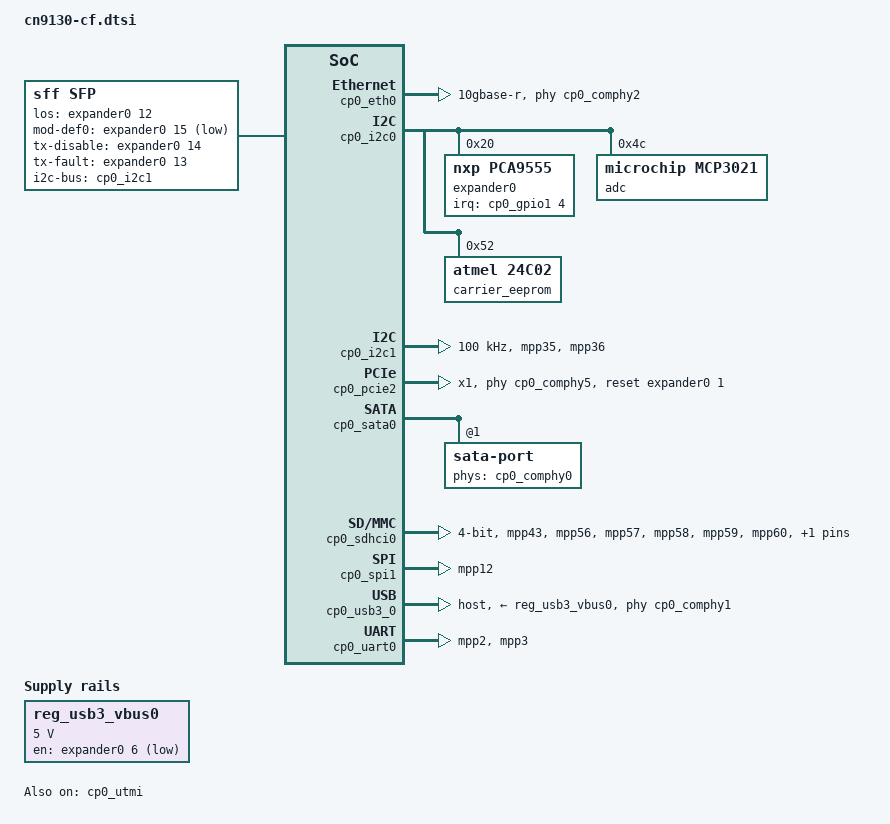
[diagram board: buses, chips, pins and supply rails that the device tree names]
// SPDX-License-Identifier: GPL-2.0+
/*
 * Copyright (C) 2024 Josua Mayer <josua@solid-run.com>
 *
 * DTS for common base of SolidRun CN9130 Clearfog Base and Pro.
 *
 */

/ {
	aliases {
		/* label nics same order as armada 388 clearfog */
		ethernet0 = &cp0_eth2;
		ethernet1 = &cp0_eth1;
		ethernet2 = &cp0_eth0;
		i2c1 = &cp0_i2c1;
		mmc1 = &cp0_sdhci0;
	};

	reg_usb3_vbus0: regulator-usb3-vbus0 {
		compatible = "regulator-fixed";
		regulator-name = "vbus0";
		regulator-min-microvolt = <5000000>;
		regulator-max-microvolt = <5000000>;
		gpios = <&expander0 6 GPIO_ACTIVE_LOW>;
	};

	sfp: sfp {
		compatible = "sff,sfp";
		i2c-bus = <&cp0_i2c1>;
		los-gpios = <&expander0 12 GPIO_ACTIVE_HIGH>;
		mod-def0-gpios = <&expander0 15 GPIO_ACTIVE_LOW>;
		tx-disable-gpios = <&expander0 14 GPIO_ACTIVE_HIGH>;
		tx-fault-gpios = <&expander0 13 GPIO_ACTIVE_HIGH>;
		maximum-power-milliwatt = <2000>;
	};
};

/* SRDS #2 - SFP+ 10GE */
&cp0_eth0 {
	managed = "in-band-status";
	phys = <&cp0_comphy2 0>;
	phy-mode = "10gbase-r";
	sfp = <&sfp>;
	status = "okay";
};

&cp0_i2c0 {
	expander0: gpio-expander@20 {
		compatible = "nxp,pca9555";
		reg = <0x20>;
		gpio-controller;
		#gpio-cells = <2>;
		pinctrl-0 = <&expander0_pins>;
		pinctrl-names = "default";
		interrupt-parent = <&cp0_gpio1>;
		interrupts = <4 IRQ_TYPE_LEVEL_LOW>;

		/* CON3 */
		pcie2-0-clkreq-hog {
			gpio-hog;
			gpios = <0 GPIO_ACTIVE_LOW>;
			input;
			line-name = "pcie2.0-clkreq";
		};

		/* CON3 */
		pcie2-0-w-disable-hog {
			gpio-hog;
			gpios = <3 GPIO_ACTIVE_LOW>;
			output-low;
			line-name = "pcie2.0-w-disable";
		};

		usb3-ilimit-hog {
			gpio-hog;
			gpios = <5 GPIO_ACTIVE_LOW>;
			input;
			line-name = "usb3-current-limit";
		};

		m2-devslp-hog {
			gpio-hog;
			gpios = <11 GPIO_ACTIVE_HIGH>;
			output-low;
			line-name = "m.2 devslp";
		};
	};

	/* The MCP3021 supports standard and fast modes */
	adc@4c {
		compatible = "microchip,mcp3021";
		reg = <0x4c>;
	};

	carrier_eeprom: eeprom@52 {
		compatible = "atmel,24c02";
		reg = <0x52>;
		pagesize = <8>;
	};
};

&cp0_i2c1 {
	/*
	 * Routed to SFP, M.2, mikrobus, and miniPCIe
	 * SFP limits this to 100kHz, and requires an AT24C01A/02/04 with
	 *  address pins tied low, which takes addresses 0x50 and 0x51.
	 * Mikrobus doesn't specify beyond an I2C bus being present.
	 * PCIe uses ARP to assign addresses, or 0x63-0x64.
	 */
	clock-frequency = <100000>;
	pinctrl-0 = <&cp0_i2c1_pins>;
	pinctrl-names = "default";
	status = "okay";
};

/* SRDS #5 - miniPCIe (CON3) */
&cp0_pcie2 {
	num-lanes = <1>;
	phys = <&cp0_comphy5 2>;
	/* dw-pcie inverts internally */
	reset-gpios = <&expander0 1 GPIO_ACTIVE_HIGH>;
	status = "okay";
};

&cp0_pinctrl {
	cp0_i2c1_pins: cp0-i2c1-pins {
		marvell,pins = "mpp35", "mpp36";
		marvell,function = "i2c1";
	};

	cp0_mmc0_pins: cp0-mmc0-pins {
		marvell,pins = "mpp43", "mpp56", "mpp57", "mpp58",
			       "mpp59", "mpp60", "mpp61";
		marvell,function = "sdio";
	};

	mikro_spi_pins: cp0-spi1-cs1-pins {
		marvell,pins = "mpp12";
		marvell,function = "spi1";
	};

	mikro_uart_pins: cp0-uart-pins {
		marvell,pins = "mpp2", "mpp3";
		marvell,function = "uart1";
	};

	expander0_pins: cp0-expander0-pins {
		marvell,pins = "mpp4";
		marvell,function = "gpio";
	};
};

/* SRDS #0 - SATA on M.2 connector */
&cp0_sata0 {
	status = "okay";

	sata-port@1 {
		phys = <&cp0_comphy0 1>;
		status = "okay";
	};
};

/* microSD */
&cp0_sdhci0 {
	pinctrl-0 = <&cp0_mmc0_pins>;
	pinctrl-names = "default";
	bus-width = <4>;
	no-1-8-v;
	status = "okay";
};

&cp0_spi1 {
	/* CS1 for mikrobus */
	pinctrl-0 = <&cp0_spi1_pins &mikro_spi_pins>;
};

/*
 * SRDS #1 - USB-3.0 Host on Type-A connector
 * USB-2.0 Host on mPCI-e connector (CON3)
 */
&cp0_usb3_0 {
	phys = <&cp0_comphy1 0>, <&cp0_utmi0>;
	phy-names = "comphy", "utmi";
	vbus-supply = <&reg_usb3_vbus0>;
	dr_mode = "host";
	status = "okay";
};

&cp0_utmi {
	status = "okay";
};

/* mikrobus uart */
&cp0_uart0 {
	pinctrl-0 = <&mikro_uart_pins>;
	pinctrl-names = "default";
	status = "okay";
};
